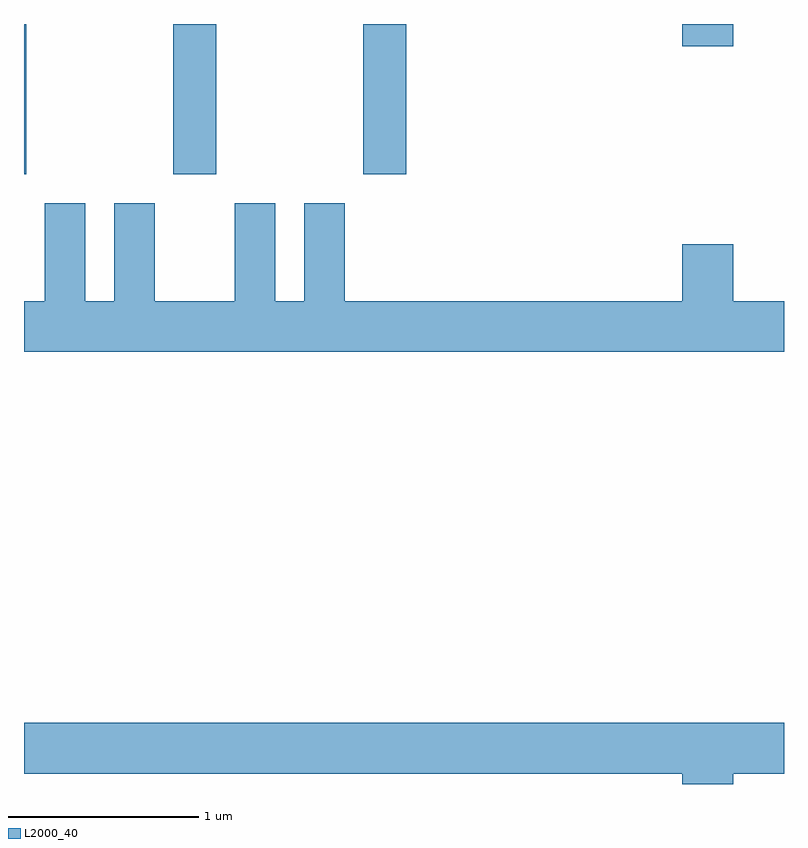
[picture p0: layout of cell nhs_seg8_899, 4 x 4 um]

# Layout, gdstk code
import gdstk
lib = gdstk.Library(unit=1e-6, precision=1e-09)
def R(c, l, rs):  # rectangles x0, y0, x1, y1
    for r in rs: c.add(gdstk.rectangle(r[:2], r[2:], *l))
def P(c, l, *ps):  # polygons
    for p in ps: c.add(gdstk.Polygon(p, *l))
L2000_40 = (2000, 40)

nhs_seg8_899 = lib.new_cell('nhs_seg8_899')
R(nhs_seg8_899, L2000_40, [(211.611,1859.551,211.624,1860.342), (212.396,1859.551,212.624,1860.342), (213.396,1859.551,213.624,1860.342), (215.076,1860.226,215.344,1860.342)])
P(nhs_seg8_899, L2000_40, [(215.611,1858.884),(215.344,1858.884),(215.344,1859.184),(215.076,1859.184),(215.076,1858.884),(213.299,1858.884),(213.299,1859.399),(213.086,1859.399),(213.086,1858.884),(212.934,1858.884),(212.934,1859.399),(212.721,1859.399),(212.721,1858.884),(212.299,1858.884),(212.299,1859.399),(212.086,1859.399),(212.086,1858.884),(211.934,1858.884),(211.934,1859.399),(211.721,1859.399),(211.721,1858.884),(211.611,1858.884),(211.611,1858.616),(215.611,1858.616)],
  [(215.344,1856.396),(215.611,1856.396),(215.611,1856.664),(211.611,1856.664),(211.611,1856.396),(215.076,1856.396),(215.076,1856.342),(215.344,1856.342)])

lib.write_gds('nhs_seg8_899.gds')
